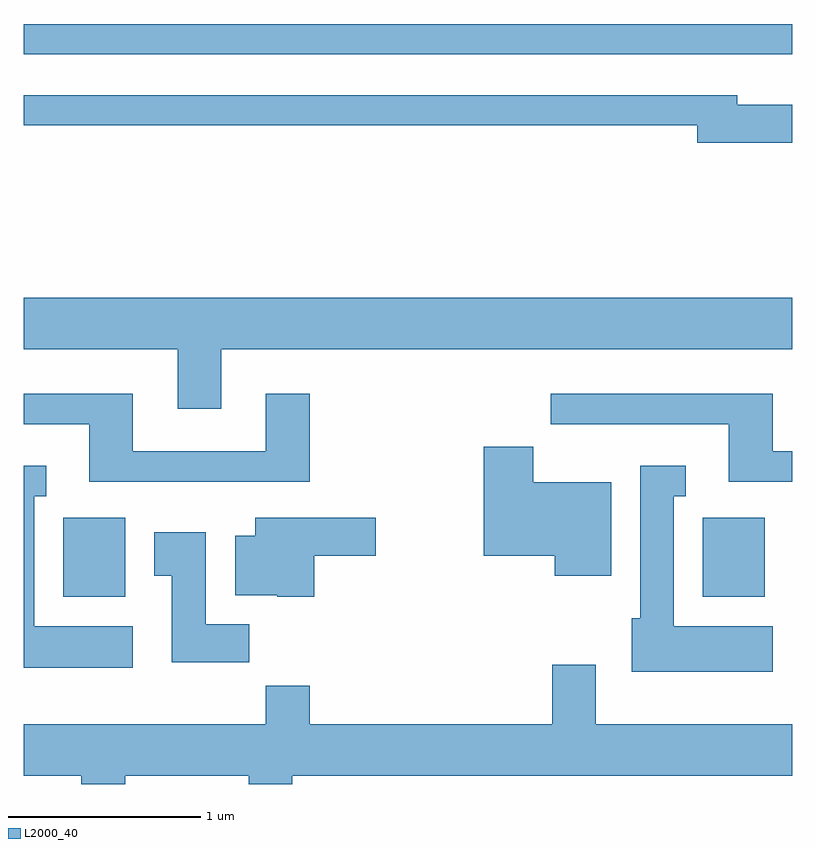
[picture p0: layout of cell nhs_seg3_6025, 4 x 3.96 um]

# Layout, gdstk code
import gdstk
lib = gdstk.Library(unit=1e-6, precision=1e-09)
def R(c, l, rs):  # rectangles x0, y0, x1, y1
    for r in rs: c.add(gdstk.rectangle(r[:2], r[2:], *l))
def P(c, l, *ps):  # polygons
    for p in ps: c.add(gdstk.Polygon(p, *l))
L2000_40 = (2000, 40)

nhs_seg3_6025 = lib.new_cell('nhs_seg3_6025')
R(nhs_seg3_6025, L2000_40, [(361.816,1206.866,362.139,1207.279), (365.146,1206.866,365.469,1207.279), (361.611,1209.691,365.611,1209.849)])
P(nhs_seg3_6025, L2000_40, [(365.611,1209.429),(365.324,1209.429),(365.324,1209.479),(361.611,1209.479),(361.611,1209.321),(365.116,1209.321),(365.116,1209.231),(365.611,1209.231)],
  [(362.639,1208.156),(365.611,1208.156),(365.611,1208.424),(361.611,1208.424),(361.611,1208.156),(362.411,1208.156),(362.411,1207.846),(362.639,1207.846)],
  [(363.099,1207.924),(362.871,1207.924),(362.871,1207.624),(362.179,1207.624),(362.179,1207.924),(361.611,1207.924),(361.611,1207.766),(361.951,1207.766),(361.951,1207.466),(363.099,1207.466)],
  [(365.611,1207.624),(365.509,1207.624),(365.509,1207.924),(364.353,1207.924),(364.353,1207.766),(365.281,1207.766),(365.281,1207.466),(365.611,1207.466)],
  [(364.669,1207.464),(364.264,1207.464),(364.264,1207.649),(364.006,1207.649),(364.006,1207.081),(364.376,1207.081),(364.376,1206.976),(364.669,1206.976)],
  [(362.179,1206.714),(361.664,1206.714),(361.664,1207.391),(361.728,1207.391),(361.728,1207.549),(361.611,1207.549),(361.611,1206.496),(362.179,1206.496)],
  [(365.509,1206.714),(364.994,1206.714),(364.994,1207.391),(365.058,1207.391),(365.058,1207.549),(364.821,1207.549),(364.821,1206.754),(364.776,1206.754),(364.776,1206.476),(365.509,1206.476)],
  [(363.124,1207.081),(363.444,1207.081),(363.444,1207.279),(362.816,1207.279),(362.816,1207.184),(362.711,1207.184),(362.711,1206.876),(362.93,1206.876),(362.93,1206.866),(363.124,1206.866)],
  [(362.784,1206.724),(362.559,1206.724),(362.559,1207.204),(362.291,1207.204),(362.291,1206.976),(362.381,1206.976),(362.381,1206.526),(362.784,1206.526)],
  [(362.139,1205.936),(362.781,1205.936),(362.781,1205.892),(363.009,1205.892),(363.009,1205.936),(365.611,1205.936),(365.611,1206.204),(364.589,1206.204),(364.589,1206.514),(364.361,1206.514),(364.361,1206.204),(363.099,1206.204),(363.099,1206.404),(362.871,1206.404),(362.871,1206.204),(361.611,1206.204),(361.611,1205.936),(361.911,1205.936),(361.911,1205.892),(362.139,1205.892)])

lib.write_gds('nhs_seg3_6025.gds')
